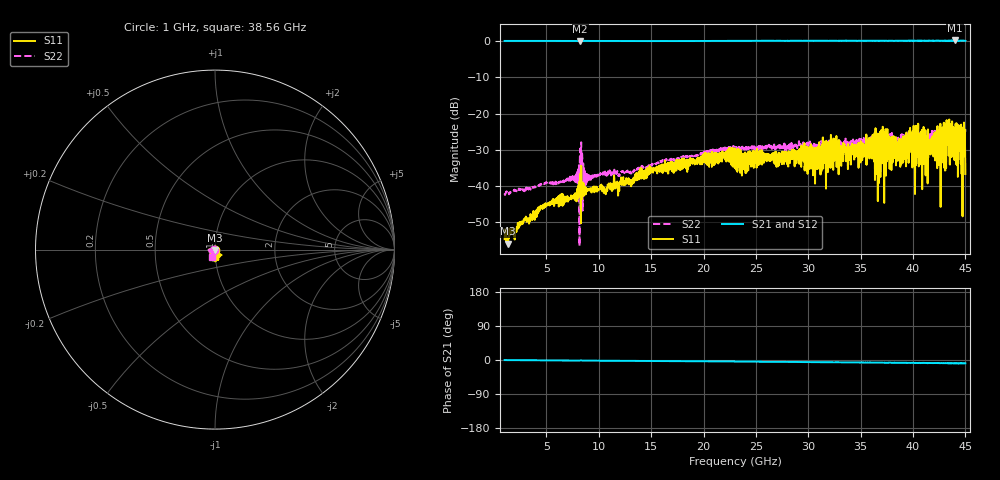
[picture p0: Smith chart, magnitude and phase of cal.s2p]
!Keysight Technologies,N5247B,MY61255062,A.19.80.06
!Date: Tuesday, May 26, 2026 10:52:21
!Correction: S11(C  2-Port  )
!S21(C  2-Port  )
!S12(C  2-Port  )
!S22(C  2-Port  )
!S2P File: Measurements: S11, S21, S12, S22:
# Hz S  dB  R 50
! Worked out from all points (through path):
!   1601 points, 1 GHz to 45 GHz, reference 50 ohm
!   highest |S21| = 0.17 dB at 44.01 GHz (marker M1); lowest = -0.1 dB at 8.205 GHz (marker M2)
!   group delay of S21, straight-line fit = 534 fs
!   lowest |S11| = -56.0 dB at 1.302 GHz (marker M3), VSWR 1.00, Z = 50 - j0.154 ohm
!   |S11| at or under -10 dB: start of sweep to end of sweep
!   |S22| runs from -56.6 to -23.8 dB; largest |S21 - S12| = 0.02
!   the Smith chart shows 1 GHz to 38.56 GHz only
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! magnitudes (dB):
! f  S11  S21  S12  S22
! 1 GHz  -54.7  0.0  0.0  -42.1
! 1.302 GHz  -56.0  0.0  0.0  -41.8
! 4.438 GHz  -45.5  0.0  0.0  -39.6
! 7.93 GHz  -40.8  0.0  0.0  -36.2
! 8.205 GHz  -41.1  -0.1  -0.1  -29.7
! 8.342 GHz  -43.9  0.1  0.1  -32.9
! 8.672 GHz  -42.4  0.0  0.0  -35.9
! 10.6 GHz  -41.5  0.0  0.0  -36.0
! 15.69 GHz  -35.7  0.0  0.0  -33.6
! 23 GHz  -29.6  0.1  0.1  -29.4
! 30.34 GHz  -29.1  0.1  0.1  -28.8
! 36.97 GHz  -32.0  0.1  0.1  -28.9
! 37.47 GHz  -26.6  0.1  0.1  -25.8
! 37.69 GHz  -32.4  0.1  0.1  -28.3
! 40.63 GHz  -32.0  0.1  0.1  -27.5
! 41.26 GHz  -28.5  0.0  0.1  -26.2
! 41.87 GHz  -28.9  0.1  0.1  -26.7
! 42.41 GHz  -25.2  0.1  0.1  -26.9
! 43.16 GHz  -35.1  0.1  0.0  -26.5
! 44.01 GHz  -26.4  0.2  0.1  -26.2
! 44.73 GHz  -48.4  0.1  0.1  -24.4
! 45 GHz  -36.7  0.1  0.1  -24.4
